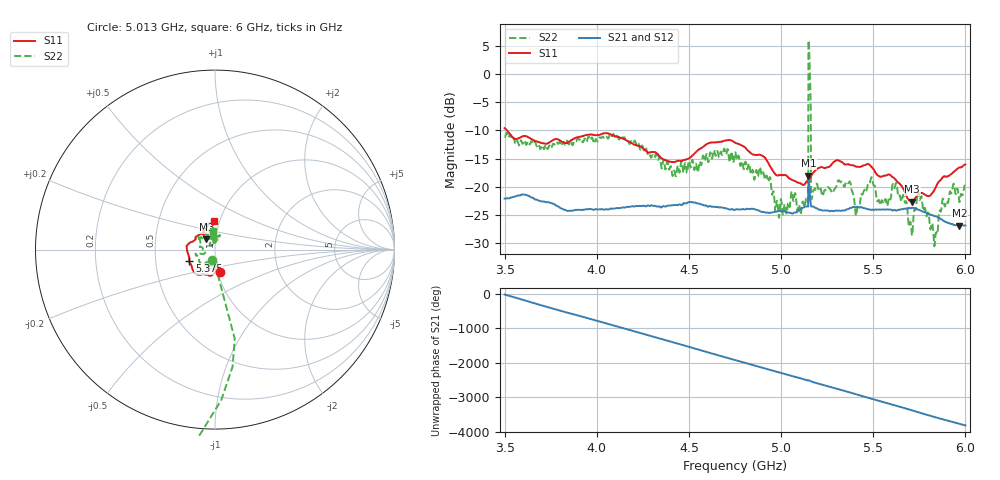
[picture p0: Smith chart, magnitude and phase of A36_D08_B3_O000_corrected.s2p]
! Created with skrf 1.9.0 (http://scikit-rf.org).
# Hz S RI R 50.0
!freq ReS11 ImS11 ReS21 ImS21 ReS12 ImS12 ReS22 ImS22
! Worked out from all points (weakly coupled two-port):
!   1601 points, 3.5 GHz to 6 GHz, reference 50 ohm
!   highest |S21| = -17.99 dB at 5.148 GHz (marker M1); lowest = -26.9 dB at 5.967 GHz (marker M2)
!   lowest |S11| = -22.6 dB at 5.711 GHz (marker M3), VSWR 1.16, Z = 45.2 + j5.18 ohm
!   |S11| at or under -10 dB: 3.513 GHz to end of sweep
!   |S22| runs from -30.5 to 5.9 dB; largest |S21 - S12| = 0.0011
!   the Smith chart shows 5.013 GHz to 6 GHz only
!   S11 on the Smith chart (normalised r, x): 5.013 GHz: 1.02, -0.26; 5.375 GHz: 0.74, -0.10; 6 GHz: 0.94, +0.30
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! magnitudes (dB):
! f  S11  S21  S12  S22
! 3.5 GHz  -9.6  -22.1  -22.1  -11.2
! 3.917 GHz  -11.1  -24.1  -24.1  -11.5
! 4.334 GHz  -14.4  -23.4  -23.4  -15.2
! 4.42 GHz  -15.6  -23.2  -23.2  -17.1
! 4.75 GHz  -12.2  -24.1  -24.0  -14.0
! 5.013 GHz  -17.9  -24.3  -24.2  -24.6
! 5.134 GHz  -19.2  -23.5  -23.4  -22.3
! 5.148 GHz  -18.7  -18.0  -18.0  5.9
! 5.161 GHz  -18.2  -23.0  -22.9  -5.9
! 5.167 GHz  -17.8  -23.5  -23.4  -22.0
! 5.175 GHz  -17.5  -23.5  -23.5  -20.6
! 5.375 GHz  -16.1  -23.7  -23.7  -19.2
! 5.412 GHz  -16.4  -23.5  -23.5  -23.9
! 5.484 GHz  -16.3  -24.1  -24.0  -18.9
! 5.584 GHz  -17.8  -24.0  -24.0  -22.0
! 5.617 GHz  -18.6  -24.1  -24.1  -20.1
! 5.711 GHz  -22.6  -23.7  -23.7  -28.6
! 5.752 GHz  -21.2  -24.1  -24.1  -22.3
! 5.839 GHz  -20.1  -25.2  -25.2  -28.3
! 5.872 GHz  -18.5  -25.8  -25.7  -23.3
! 5.967 GHz  -16.6  -26.9  -26.9  -22.7
! 6 GHz  -16.0  -26.8  -26.8  -19.8
